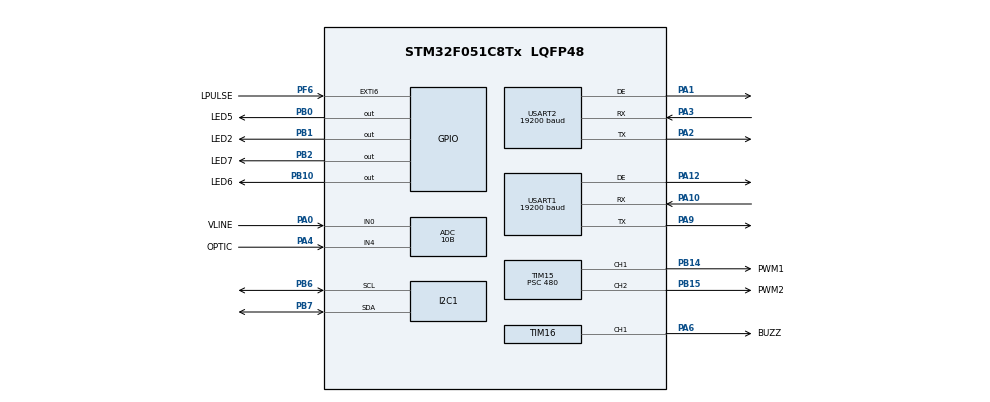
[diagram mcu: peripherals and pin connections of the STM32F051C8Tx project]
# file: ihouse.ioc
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ADC.Resolution=ADC_RESOLUTION_10B
Mcu.Family=STM32F0
Mcu.Name=STM32F051C8Tx
Mcu.Package=LQFP48
NVIC.EXTI4_15_IRQn=true\:0\:0\:false\:false\:true\:true
NVIC.TIM6_DAC_IRQn=true\:0\:0\:false\:false\:true\:true
NVIC.USART1_IRQn=true\:0\:0\:false\:false\:true\:true
NVIC.USART2_IRQn=true\:0\:0\:false\:false\:true\:true
PA0.GPIO_Label=VLINE
PA0.Mode=IN0
PA0.Signal=ADC_IN0
PA1.Mode=Hardware Flow Control (RS485)
PA1.Signal=USART2_DE
PA10.Mode=Asynchronous
PA10.Signal=USART1_RX
PA12.Mode=Hardware Flow Control (RS485)
PA12.Signal=USART1_DE
PA13.Mode=Serial_Wire
PA13.Signal=SYS_SWDIO
PA14.Mode=Serial_Wire
PA14.Signal=SYS_SWCLK
PA2.Mode=Asynchronous
PA2.Signal=USART2_TX
PA3.Mode=Asynchronous
PA3.Signal=USART2_RX
PA4.GPIO_Label=OPTIC
PA4.Mode=IN4
PA4.Signal=ADC_IN4
PA6.GPIO_Label=BUZZ
PA6.Signal=S_TIM16_CH1
PA9.Mode=Asynchronous
PA9.Signal=USART1_TX
PB0.GPIO_Label=LED5
PB0.Signal=GPIO_Output
PB1.GPIO_Label=LED2
PB1.Signal=GPIO_Output
PB10.GPIO_Label=LED6
PB10.Signal=GPIO_Output
PB14.GPIO_Label=PWM1
PB14.Signal=S_TIM15_CH1
PB15.GPIO_Label=PWM2
PB15.Signal=S_TIM15_CH2
PB2.GPIO_Label=LED7
PB2.Signal=GPIO_Output
PB6.Mode=I2C
PB6.Signal=I2C1_SCL
PB7.Mode=I2C
PB7.Signal=I2C1_SDA
PC14-OSC32_IN.Mode=LSE-External-Oscillator
PC14-OSC32_IN.Signal=RCC_OSC32_IN
PC15-OSC32_OUT.Mode=LSE-External-Oscillator
PC15-OSC32_OUT.Signal=RCC_OSC32_OUT
PF0-OSC_IN.Mode=HSE-External-Oscillator
PF0-OSC_IN.Signal=RCC_OSC_IN
PF1-OSC_OUT.Mode=HSE-External-Oscillator
PF1-OSC_OUT.Signal=RCC_OSC_OUT
PF6.GPIO_Label=LPULSE
PF6.GPIO_PuPd=GPIO_PULLUP
PF6.Signal=GPXTI6
ProjectManager.HeapSize=0x200
ProjectManager.StackSize=0x400
ProjectManager.TargetToolchain=Other Toolchains (GPDSC)
RCC.AHBFreq_Value=48000000
RCC.APB1Freq_Value=48000000
RCC.APB1TimFreq_Value=48000000
RCC.FLatency=FLASH_LATENCY_1
RCC.HCLKFreq_Value=48000000
RCC.HSI14CalibrationValue=16
RCC.PLLMUL=RCC_PLL_MUL6
RCC.PLLSourceVirtual=RCC_PLLSOURCE_HSE
RCC.SYSCLKFreq_VALUE=48000000
RCC.SYSCLKSource=RCC_SYSCLKSOURCE_PLLCLK
SH.S_TIM15_CH1.0=TIM15_CH1,PWM Generation1 CH1
SH.S_TIM15_CH2.0=TIM15_CH2,PWM Generation2 CH2
SH.S_TIM16_CH1.0=TIM16_CH1,PWM Generation1 CH1
TIM15.Channel-PWM\ Generation1\ CH1=TIM_CHANNEL_1
TIM15.Channel-PWM\ Generation2\ CH2=TIM_CHANNEL_2
TIM15.Period=100
TIM15.Prescaler=480
TIM15.Pulse-PWM\ Generation1\ CH1=50
TIM15.Pulse-PWM\ Generation2\ CH2=50
TIM16.Channel=TIM_CHANNEL_1
TIM16.Period=100
TIM16.Prescaler=480
TIM16.Pulse=50
TIM6.Period=1000
USART1.BaudRate=19200
USART1.VirtualMode-Asynchronous=VM_ASYNC
USART1.VirtualMode-Hardware\ Flow\ Control\ (RS485)=VM_ASYNC
USART2.BaudRate=19200
USART2.VirtualMode-Asynchronous=VM_ASYNC
USART2.VirtualMode-Hardware\ Flow\ Control\ (RS485)=VM_ASYNC
VP_ADC_TempSens_Input.Mode=IN-TempSens
VP_ADC_Vref_Input.Mode=IN-Vrefint
VP_TIM16_VS_ClockSourceINT.Mode=Enable_Timer
VP_TIM6_VS_ClockSourceINT.Mode=Enable_Timer
VP_TIM6_VS_OPM.Mode=OPM_bit
board=unicon

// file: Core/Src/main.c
/* USER CODE BEGIN Header */
/**
  ******************************************************************************
  * @file           : main.c
  * @brief          : Main program body
  ******************************************************************************
  ** This notice applies to any and all portions of this file
  * that are not between comment pairs USER CODE BEGIN and
  * USER CODE END. Other portions of this file, whether
  * inserted by the user or by software development tools
  * are owned by their respective copyright owners.
  *
  * COPYRIGHT(c) 2019 STMicroelectronics
  *
  * Redistribution and use in source and binary forms, with or without modification,
  * are permitted provided that the following conditions are met:
  *   1. Redistributions of source code must retain the above copyright notice,
  *      this list of conditions and the following disclaimer.
  *   2. Redistributions in binary form must reproduce the above copyright notice,
  *      this list of conditions and the following disclaimer in the documentation
  *      and/or other materials provided with the distribution.
  *   3. Neither the name of STMicroelectronics nor the names of its contributors
  *      may be used to endorse or promote products derived from this software
  *      without specific prior written permission.
  *
  * THIS SOFTWARE IS PROVIDED BY THE COPYRIGHT HOLDERS AND CONTRIBUTORS "AS IS"
  * AND ANY EXPRESS OR IMPLIED WARRANTIES, INCLUDING, BUT NOT LIMITED TO, THE
  * IMPLIED WARRANTIES OF MERCHANTABILITY AND FITNESS FOR A PARTICULAR PURPOSE ARE
  * DISCLAIMED. IN NO EVENT SHALL THE COPYRIGHT HOLDER OR CONTRIBUTORS BE LIABLE
  * FOR ANY DIRECT, INDIRECT, INCIDENTAL, SPECIAL, EXEMPLARY, OR CONSEQUENTIAL
  * DAMAGES (INCLUDING, BUT NOT LIMITED TO, PROCUREMENT OF SUBSTITUTE GOODS OR
  * SERVICES; LOSS OF USE, DATA, OR PROFITS; OR BUSINESS INTERRUPTION) HOWEVER
  * CAUSED AND ON ANY THEORY OF LIABILITY, WHETHER IN CONTRACT, STRICT LIABILITY,
  * OR TORT (INCLUDING NEGLIGENCE OR OTHERWISE) ARISING IN ANY WAY OUT OF THE USE
  * OF THIS SOFTWARE, EVEN IF ADVISED OF THE POSSIBILITY OF SUCH DAMAGE.
  *
  ******************************************************************************
  */
/* USER CODE END Header */

#include "main.h"

/* USER CODE BEGIN Includes */
#include "unicon.h"

#if defined(MODBUS_ENABLE)
    #include "mb.h"
    #include "user_mb_app.h"
#endif
/* USER CODE END Includes */

/* USER CODE BEGIN PV */
extern volatile uint32_t timestamp;

char str[10] = {'r', 'e', 's', 't', 0xff, 0xff, 0xff};
/* USER CODE END PV */

void SystemClock_Config(void);
static void MX_GPIO_Init(void);
static void MX_I2C1_Init(void);
static void MX_USART1_UART_Init(void);
static void MX_TIM6_Init(void);
static void MX_ADC_Init(void);
static void MX_USART2_UART_Init(void);
static void MX_TIM16_Init(void);
static void MX_TIM15_Init(void);

int main(void)
{
  /* USER CODE BEGIN 1 */
    static volatile uint32_t delay = 0;
  /* USER CODE END 1 */

  /* MCU Configuration--------------------------------------------------------*/

  /* Reset of all peripherals, Initializes the Flash interface and the Systick. */

  LL_APB1_GRP2_EnableClock(LL_APB1_GRP2_PERIPH_SYSCFG);
  LL_APB1_GRP1_EnableClock(LL_APB1_GRP1_PERIPH_PWR);

  /* System interrupt init*/

  /* Configure the system clock */
  SystemClock_Config();

  /* Initialize all configured peripherals */
  MX_GPIO_Init();
  MX_I2C1_Init();
  MX_USART1_UART_Init();
  MX_TIM6_Init();
  MX_ADC_Init();
  MX_USART2_UART_Init();
  MX_TIM16_Init();
  MX_TIM15_Init();
  /* USER CODE BEGIN 2 */

    SysTick_Config(SystemCoreClock/1000);

    LL_mDelay(10);

    UNI_Start();

    BEEP();
    LL_mDelay(10);
    BEEP();
    LL_mDelay(10);
    BEEP();

  /* USER CODE END 2 */

  /* Infinite loop */
  /* USER CODE BEGIN WHILE */

#if defined(MODBUS_ENABLE)
    eMBInit( MB_RTU, port_config[SECONDARY_PORT].MbAddr, SECONDARY_PORT, port_config[SECONDARY_PORT].Baudrate, port_config[SECONDARY_PORT].Parity );
    eMBSetSlaveID( 123, TRUE, ucSlaveIdBuf, (MB_FUNC_OTHER_REP_SLAVEID_BUF - 4) );
    eMBEnable();
#endif

  while (1)
  {

        if(delay <= timestamp) {

            delay = timestamp + 5000;

            LEDS_OFF();

            Nextion_CommandSend(cmd_rest, sizeof(cmd_rest));
        }

        UNI_Process();

//        if(port_register[NEXTION_PORT].PortTimer > 0) LED2_ON();
//        else LED2_OFF();
//
//        if(port_register[SECONDARY_PORT].PortTimer > 0) LED7_ON();
//        else LED7_OFF();

    /* USER CODE END WHILE */
#if defined(MODBUS_ENABLE)
    (void)eMBPoll();
#endif
  }
}

void SystemClock_Config(void)
{
  LL_FLASH_SetLatency(LL_FLASH_LATENCY_1);

  if(LL_FLASH_GetLatency() != LL_FLASH_LATENCY_1)
  {
  Error_Handler();
  }
  LL_RCC_HSE_Enable();

   /* Wait till HSE is ready */
  while(LL_RCC_HSE_IsReady() != 1)
  {

  }
  LL_RCC_HSI_Enable();

   /* Wait till HSI is ready */
  while(LL_RCC_HSI_IsReady() != 1)
  {

  }
  LL_RCC_HSI_SetCalibTrimming(16);
  LL_RCC_HSI14_Enable();

   /* Wait till HSI14 is ready */
  while(LL_RCC_HSI14_IsReady() != 1)
  {

  }
  LL_RCC_HSI14_SetCalibTrimming(16);
  LL_RCC_PLL_ConfigDomain_SYS(LL_RCC_PLLSOURCE_HSE_DIV_1, LL_RCC_PLL_MUL_6);
  LL_RCC_PLL_Enable();

   /* Wait till PLL is ready */
  while(LL_RCC_PLL_IsReady() != 1)
  {

  }
  LL_RCC_SetAHBPrescaler(LL_RCC_SYSCLK_DIV_1);
  LL_RCC_SetAPB1Prescaler(LL_RCC_APB1_DIV_1);
  LL_RCC_SetSysClkSource(LL_RCC_SYS_CLKSOURCE_PLL);

   /* Wait till System clock is ready */
  while(LL_RCC_GetSysClkSource() != LL_RCC_SYS_CLKSOURCE_STATUS_PLL)
  {

  }
  LL_Init1msTick(48000000);
  LL_SYSTICK_SetClkSource(LL_SYSTICK_CLKSOURCE_HCLK);
  LL_SetSystemCoreClock(48000000);
  LL_RCC_HSI14_EnableADCControl();
  LL_RCC_SetUSARTClockSource(LL_RCC_USART1_CLKSOURCE_PCLK1);
  LL_RCC_SetI2CClockSource(LL_RCC_I2C1_CLKSOURCE_HSI);
}

static void MX_ADC_Init(void)
{

  LL_ADC_InitTypeDef ADC_InitStruct = {0};
  LL_ADC_REG_InitTypeDef ADC_REG_InitStruct = {0};

  LL_GPIO_InitTypeDef GPIO_InitStruct = {0};

  /* Peripheral clock enable */
  LL_APB1_GRP2_EnableClock(LL_APB1_GRP2_PERIPH_ADC1);

  LL_AHB1_GRP1_EnableClock(LL_AHB1_GRP1_PERIPH_GPIOA);
  /**ADC GPIO Configuration
  PA0   ------> ADC_IN0
  PA4   ------> ADC_IN4
  */
  GPIO_InitStruct.Pin = VLINE_Pin;
  GPIO_InitStruct.Mode = LL_GPIO_MODE_ANALOG;
  GPIO_InitStruct.Pull = LL_GPIO_PULL_NO;
  LL_GPIO_Init(VLINE_GPIO_Port, &GPIO_InitStruct);

  GPIO_InitStruct.Pin = OPTIC_Pin;
  GPIO_InitStruct.Mode = LL_GPIO_MODE_ANALOG;
  GPIO_InitStruct.Pull = LL_GPIO_PULL_NO;
  LL_GPIO_Init(OPTIC_GPIO_Port, &GPIO_InitStruct);

  /**Configure Regular Channel
  */
  LL_ADC_REG_SetSequencerChAdd(ADC1, LL_ADC_CHANNEL_0);
  /**Configure Regular Channel
  */
  LL_ADC_REG_SetSequencerChAdd(ADC1, LL_ADC_CHANNEL_4);
  /**Configure Regular Channel
  */
  LL_ADC_REG_SetSequencerChAdd(ADC1, LL_ADC_CHANNEL_TEMPSENSOR);
  LL_ADC_SetCommonPathInternalCh(__LL_ADC_COMMON_INSTANCE(ADC1), LL_ADC_PATH_INTERNAL_TEMPSENSOR);
  /**Configure Regular Channel
  */
  LL_ADC_REG_SetSequencerChAdd(ADC1, LL_ADC_CHANNEL_VREFINT);
  LL_ADC_SetCommonPathInternalCh(__LL_ADC_COMMON_INSTANCE(ADC1), LL_ADC_PATH_INTERNAL_VREFINT);
  /**Configure the global features of the ADC (Clock, Resolution, Data Alignment and number of conversion)
  */
  ADC_InitStruct.Clock = LL_ADC_CLOCK_ASYNC;
  ADC_InitStruct.Resolution = LL_ADC_RESOLUTION_10B;
  ADC_InitStruct.DataAlignment = LL_ADC_DATA_ALIGN_RIGHT;
  ADC_InitStruct.LowPowerMode = LL_ADC_LP_MODE_NONE;
  LL_ADC_Init(ADC1, &ADC_InitStruct);
  ADC_REG_InitStruct.TriggerSource = LL_ADC_REG_TRIG_SOFTWARE;
  ADC_REG_InitStruct.SequencerDiscont = LL_ADC_REG_SEQ_DISCONT_DISABLE;
  ADC_REG_InitStruct.ContinuousMode = LL_ADC_REG_CONV_SINGLE;
  ADC_REG_InitStruct.DMATransfer = LL_ADC_REG_DMA_TRANSFER_LIMITED;
  ADC_REG_InitStruct.Overrun = LL_ADC_REG_OVR_DATA_PRESERVED;
  LL_ADC_REG_Init(ADC1, &ADC_REG_InitStruct);
  LL_ADC_REG_SetSequencerScanDirection(ADC1, LL_ADC_REG_SEQ_SCAN_DIR_FORWARD);
  LL_ADC_SetSamplingTimeCommonChannels(ADC1, LL_ADC_SAMPLINGTIME_1CYCLE_5);
  LL_ADC_DisableIT_EOC(ADC1);
  LL_ADC_DisableIT_EOS(ADC1);

}

static void MX_I2C1_Init(void)
{

  LL_I2C_InitTypeDef I2C_InitStruct = {0};

  LL_GPIO_InitTypeDef GPIO_InitStruct = {0};

  LL_AHB1_GRP1_EnableClock(LL_AHB1_GRP1_PERIPH_GPIOB);
  /**I2C1 GPIO Configuration
  PB6   ------> I2C1_SCL
  PB7   ------> I2C1_SDA
  */
  GPIO_InitStruct.Pin = LL_GPIO_PIN_6;
  GPIO_InitStruct.Mode = LL_GPIO_MODE_ALTERNATE;
  GPIO_InitStruct.Speed = LL_GPIO_SPEED_FREQ_HIGH;
  GPIO_InitStruct.OutputType = LL_GPIO_OUTPUT_OPENDRAIN;
  GPIO_InitStruct.Pull = LL_GPIO_PULL_UP;
  GPIO_InitStruct.Alternate = LL_GPIO_AF_1;
  LL_GPIO_Init(GPIOB, &GPIO_InitStruct);

  GPIO_InitStruct.Pin = LL_GPIO_PIN_7;
  GPIO_InitStruct.Mode = LL_GPIO_MODE_ALTERNATE;
  GPIO_InitStruct.Speed = LL_GPIO_SPEED_FREQ_HIGH;
  GPIO_InitStruct.OutputType = LL_GPIO_OUTPUT_OPENDRAIN;
  GPIO_InitStruct.Pull = LL_GPIO_PULL_UP;
  GPIO_InitStruct.Alternate = LL_GPIO_AF_1;
  LL_GPIO_Init(GPIOB, &GPIO_InitStruct);

  /* Peripheral clock enable */
  LL_APB1_GRP1_EnableClock(LL_APB1_GRP1_PERIPH_I2C1);

  /**I2C Initialization
  */
  LL_I2C_DisableOwnAddress2(I2C1);
  LL_I2C_DisableGeneralCall(I2C1);
  LL_I2C_EnableClockStretching(I2C1);
  I2C_InitStruct.PeripheralMode = LL_I2C_MODE_I2C;
  I2C_InitStruct.Timing = 0x2000090E;
  I2C_InitStruct.AnalogFilter = LL_I2C_ANALOGFILTER_ENABLE;
  I2C_InitStruct.DigitalFilter = 0;
  I2C_InitStruct.OwnAddress1 = 0;
  I2C_InitStruct.TypeAcknowledge = LL_I2C_ACK;
  I2C_InitStruct.OwnAddrSize = LL_I2C_OWNADDRESS1_7BIT;
  LL_I2C_Init(I2C1, &I2C_InitStruct);
  LL_I2C_EnableAutoEndMode(I2C1);
  LL_I2C_SetOwnAddress2(I2C1, 0, LL_I2C_OWNADDRESS2_NOMASK);

}

static void MX_TIM6_Init(void)
{

  LL_TIM_InitTypeDef TIM_InitStruct = {0};

  /* Peripheral clock enable */
  LL_APB1_GRP1_EnableClock(LL_APB1_GRP1_PERIPH_TIM6);

  /* TIM6 interrupt Init */
  NVIC_SetPriority(TIM6_DAC_IRQn, 0);
  NVIC_EnableIRQ(TIM6_DAC_IRQn);

  TIM_InitStruct.Prescaler = 0;
  TIM_InitStruct.CounterMode = LL_TIM_COUNTERMODE_UP;
  TIM_InitStruct.Autoreload = 1000;
  LL_TIM_Init(TIM6, &TIM_InitStruct);
  LL_TIM_DisableARRPreload(TIM6);
  LL_TIM_SetOnePulseMode(TIM6, LL_TIM_ONEPULSEMODE_SINGLE);
  LL_TIM_SetTriggerOutput(TIM6, LL_TIM_TRGO_RESET);
  LL_TIM_DisableMasterSlaveMode(TIM6);

}

static void MX_TIM15_Init(void)
{

  LL_TIM_InitTypeDef TIM_InitStruct = {0};
  LL_TIM_OC_InitTypeDef TIM_OC_InitStruct = {0};
  LL_TIM_BDTR_InitTypeDef TIM_BDTRInitStruct = {0};

  LL_GPIO_InitTypeDef GPIO_InitStruct = {0};

  /* Peripheral clock enable */
  LL_APB1_GRP2_EnableClock(LL_APB1_GRP2_PERIPH_TIM15);

  TIM_InitStruct.Prescaler = 480;
  TIM_InitStruct.CounterMode = LL_TIM_COUNTERMODE_UP;
  TIM_InitStruct.Autoreload = 100;
  TIM_InitStruct.ClockDivision = LL_TIM_CLOCKDIVISION_DIV1;
  TIM_InitStruct.RepetitionCounter = 0;
  LL_TIM_Init(TIM15, &TIM_InitStruct);
  LL_TIM_DisableARRPreload(TIM15);
  LL_TIM_OC_EnablePreload(TIM15, LL_TIM_CHANNEL_CH1);
  TIM_OC_InitStruct.OCMode = LL_TIM_OCMODE_PWM1;
  TIM_OC_InitStruct.OCState = LL_TIM_OCSTATE_DISABLE;
  TIM_OC_InitStruct.OCNState = LL_TIM_OCSTATE_DISABLE;
  TIM_OC_InitStruct.CompareValue = 50;
  TIM_OC_InitStruct.OCPolarity = LL_TIM_OCPOLARITY_HIGH;
  TIM_OC_InitStruct.OCNPolarity = LL_TIM_OCPOLARITY_HIGH;
  TIM_OC_InitStruct.OCIdleState = LL_TIM_OCIDLESTATE_LOW;
  TIM_OC_InitStruct.OCNIdleState = LL_TIM_OCIDLESTATE_LOW;
  LL_TIM_OC_Init(TIM15, LL_TIM_CHANNEL_CH1, &TIM_OC_InitStruct);
  LL_TIM_OC_DisableFast(TIM15, LL_TIM_CHANNEL_CH1);
  LL_TIM_OC_EnablePreload(TIM15, LL_TIM_CHANNEL_CH2);
  TIM_OC_InitStruct.OCState = LL_TIM_OCSTATE_DISABLE;
  TIM_OC_InitStruct.OCNState = LL_TIM_OCSTATE_DISABLE;
  LL_TIM_OC_Init(TIM15, LL_TIM_CHANNEL_CH2, &TIM_OC_InitStruct);
  LL_TIM_OC_DisableFast(TIM15, LL_TIM_CHANNEL_CH2);
  LL_TIM_SetTriggerOutput(TIM15, LL_TIM_TRGO_RESET);
  LL_TIM_DisableMasterSlaveMode(TIM15);
  TIM_BDTRInitStruct.OSSRState = LL_TIM_OSSR_DISABLE;
  TIM_BDTRInitStruct.OSSIState = LL_TIM_OSSI_DISABLE;
  TIM_BDTRInitStruct.LockLevel = LL_TIM_LOCKLEVEL_OFF;
  TIM_BDTRInitStruct.DeadTime = 0;
  TIM_BDTRInitStruct.BreakState = LL_TIM_BREAK_DISABLE;
  TIM_BDTRInitStruct.BreakPolarity = LL_TIM_BREAK_POLARITY_HIGH;
  TIM_BDTRInitStruct.AutomaticOutput = LL_TIM_AUTOMATICOUTPUT_DISABLE;
  LL_TIM_BDTR_Init(TIM15, &TIM_BDTRInitStruct);
  LL_AHB1_GRP1_EnableClock(LL_AHB1_GRP1_PERIPH_GPIOB);
  /**TIM15 GPIO Configuration
  PB14   ------> TIM15_CH1
  PB15   ------> TIM15_CH2
  */
  GPIO_InitStruct.Pin = PWM1_Pin;
  GPIO_InitStruct.Mode = LL_GPIO_MODE_ALTERNATE;
  GPIO_InitStruct.Speed = LL_GPIO_SPEED_FREQ_LOW;
  GPIO_InitStruct.OutputType = LL_GPIO_OUTPUT_PUSHPULL;
  GPIO_InitStruct.Pull = LL_GPIO_PULL_NO;
  GPIO_InitStruct.Alternate = LL_GPIO_AF_1;
  LL_GPIO_Init(PWM1_GPIO_Port, &GPIO_InitStruct);

  GPIO_InitStruct.Pin = PWM2_Pin;
  GPIO_InitStruct.Mode = LL_GPIO_MODE_ALTERNATE;
  GPIO_InitStruct.Speed = LL_GPIO_SPEED_FREQ_LOW;
  GPIO_InitStruct.OutputType = LL_GPIO_OUTPUT_PUSHPULL;
  GPIO_InitStruct.Pull = LL_GPIO_PULL_NO;
  GPIO_InitStruct.Alternate = LL_GPIO_AF_1;
  LL_GPIO_Init(PWM2_GPIO_Port, &GPIO_InitStruct);

}

static void MX_TIM16_Init(void)
{

  LL_TIM_InitTypeDef TIM_InitStruct = {0};
  LL_TIM_OC_InitTypeDef TIM_OC_InitStruct = {0};
  LL_TIM_BDTR_InitTypeDef TIM_BDTRInitStruct = {0};

  LL_GPIO_InitTypeDef GPIO_InitStruct = {0};

  /* Peripheral clock enable */
  LL_APB1_GRP2_EnableClock(LL_APB1_GRP2_PERIPH_TIM16);

  TIM_InitStruct.Prescaler = 480;
  TIM_InitStruct.CounterMode = LL_TIM_COUNTERMODE_UP;
  TIM_InitStruct.Autoreload = 100;
  TIM_InitStruct.ClockDivision = LL_TIM_CLOCKDIVISION_DIV1;
  TIM_InitStruct.RepetitionCounter = 0;
  LL_TIM_Init(TIM16, &TIM_InitStruct);
  LL_TIM_DisableARRPreload(TIM16);
  LL_TIM_OC_EnablePreload(TIM16, LL_TIM_CHANNEL_CH1);
  TIM_OC_InitStruct.OCMode = LL_TIM_OCMODE_PWM1;
  TIM_OC_InitStruct.OCState = LL_TIM_OCSTATE_DISABLE;
  TIM_OC_InitStruct.OCNState = LL_TIM_OCSTATE_DISABLE;
  TIM_OC_InitStruct.CompareValue = 50;
  TIM_OC_InitStruct.OCPolarity = LL_TIM_OCPOLARITY_HIGH;
  TIM_OC_InitStruct.OCNPolarity = LL_TIM_OCPOLARITY_HIGH;
  TIM_OC_InitStruct.OCIdleState = LL_TIM_OCIDLESTATE_LOW;
  TIM_OC_InitStruct.OCNIdleState = LL_TIM_OCIDLESTATE_LOW;
  LL_TIM_OC_Init(TIM16, LL_TIM_CHANNEL_CH1, &TIM_OC_InitStruct);
  LL_TIM_OC_DisableFast(TIM16, LL_TIM_CHANNEL_CH1);
  TIM_BDTRInitStruct.OSSRState = LL_TIM_OSSR_DISABLE;
  TIM_BDTRInitStruct.OSSIState = LL_TIM_OSSI_DISABLE;
  TIM_BDTRInitStruct.LockLevel = LL_TIM_LOCKLEVEL_OFF;
  TIM_BDTRInitStruct.DeadTime = 0;
  TIM_BDTRInitStruct.BreakState = LL_TIM_BREAK_DISABLE;
  TIM_BDTRInitStruct.BreakPolarity = LL_TIM_BREAK_POLARITY_HIGH;
  TIM_BDTRInitStruct.AutomaticOutput = LL_TIM_AUTOMATICOUTPUT_DISABLE;
  LL_TIM_BDTR_Init(TIM16, &TIM_BDTRInitStruct);
  LL_AHB1_GRP1_EnableClock(LL_AHB1_GRP1_PERIPH_GPIOA);
  /**TIM16 GPIO Configuration
  PA6   ------> TIM16_CH1
  */
  GPIO_InitStruct.Pin = BUZZ_Pin;
  GPIO_InitStruct.Mode = LL_GPIO_MODE_ALTERNATE;
  GPIO_InitStruct.Speed = LL_GPIO_SPEED_FREQ_LOW;
  GPIO_InitStruct.OutputType = LL_GPIO_OUTPUT_PUSHPULL;
  GPIO_InitStruct.Pull = LL_GPIO_PULL_NO;
  GPIO_InitStruct.Alternate = LL_GPIO_AF_5;
  LL_GPIO_Init(BUZZ_GPIO_Port, &GPIO_InitStruct);

}

static void MX_USART1_UART_Init(void)
{

  LL_USART_InitTypeDef USART_InitStruct = {0};

  LL_GPIO_InitTypeDef GPIO_InitStruct = {0};

  /* Peripheral clock enable */
  LL_APB1_GRP2_EnableClock(LL_APB1_GRP2_PERIPH_USART1);

  LL_AHB1_GRP1_EnableClock(LL_AHB1_GRP1_PERIPH_GPIOA);
  /**USART1 GPIO Configuration
  PA9   ------> USART1_TX
  PA10   ------> USART1_RX
  PA12   ------> USART1_DE
  */
  GPIO_InitStruct.Pin = LL_GPIO_PIN_9;
  GPIO_InitStruct.Mode = LL_GPIO_MODE_ALTERNATE;
  GPIO_InitStruct.Speed = LL_GPIO_SPEED_FREQ_HIGH;
  GPIO_InitStruct.OutputType = LL_GPIO_OUTPUT_PUSHPULL;
  GPIO_InitStruct.Pull = LL_GPIO_PULL_NO;
  GPIO_InitStruct.Alternate = LL_GPIO_AF_1;
  LL_GPIO_Init(GPIOA, &GPIO_InitStruct);

  GPIO_InitStruct.Pin = LL_GPIO_PIN_10;
  GPIO_InitStruct.Mode = LL_GPIO_MODE_ALTERNATE;
  GPIO_InitStruct.Speed = LL_GPIO_SPEED_FREQ_HIGH;
  GPIO_InitStruct.OutputType = LL_GPIO_OUTPUT_PUSHPULL;
  GPIO_InitStruct.Pull = LL_GPIO_PULL_UP;
  GPIO_InitStruct.Alternate = LL_GPIO_AF_1;
  LL_GPIO_Init(GPIOA, &GPIO_InitStruct);

  GPIO_InitStruct.Pin = LL_GPIO_PIN_12;
  GPIO_InitStruct.Mode = LL_GPIO_MODE_ALTERNATE;
  GPIO_InitStruct.Speed = LL_GPIO_SPEED_FREQ_HIGH;
  GPIO_InitStruct.OutputType = LL_GPIO_OUTPUT_PUSHPULL;
  GPIO_InitStruct.Pull = LL_GPIO_PULL_NO;
  GPIO_InitStruct.Alternate = LL_GPIO_AF_1;
  LL_GPIO_Init(GPIOA, &GPIO_InitStruct);

  /* USART1 interrupt Init */
  NVIC_SetPriority(USART1_IRQn, 0);
  NVIC_EnableIRQ(USART1_IRQn);

  USART_InitStruct.BaudRate = 19200;
  USART_InitStruct.DataWidth = LL_USART_DATAWIDTH_8B;
  USART_InitStruct.StopBits = LL_USART_STOPBITS_1;
  USART_InitStruct.Parity = LL_USART_PARITY_NONE;
  USART_InitStruct.TransferDirection = LL_USART_DIRECTION_TX_RX;
  USART_InitStruct.HardwareFlowControl = LL_USART_HWCONTROL_NONE;
  USART_InitStruct.OverSampling = LL_USART_OVERSAMPLING_16;
  LL_USART_Init(USART1, &USART_InitStruct);
  LL_USART_EnableDEMode(USART1);
  LL_USART_SetDESignalPolarity(USART1, LL_USART_DE_POLARITY_HIGH);
  LL_USART_SetDEAssertionTime(USART1, 0);
  LL_USART_SetDEDeassertionTime(USART1, 0);
  LL_USART_DisableOverrunDetect(USART1);
  LL_USART_ConfigAsyncMode(USART1);
  LL_USART_Enable(USART1);

}

static void MX_USART2_UART_Init(void)
{

  LL_USART_InitTypeDef USART_InitStruct = {0};

  LL_GPIO_InitTypeDef GPIO_InitStruct = {0};

  /* Peripheral clock enable */
  LL_APB1_GRP1_EnableClock(LL_APB1_GRP1_PERIPH_USART2);

  LL_AHB1_GRP1_EnableClock(LL_AHB1_GRP1_PERIPH_GPIOA);
  /**USART2 GPIO Configuration
  PA1   ------> USART2_DE
  PA2   ------> USART2_TX
  PA3   ------> USART2_RX
  */
  GPIO_InitStruct.Pin = LL_GPIO_PIN_1;
  GPIO_InitStruct.Mode = LL_GPIO_MODE_ALTERNATE;
  GPIO_InitStruct.Speed = LL_GPIO_SPEED_FREQ_HIGH;
  GPIO_InitStruct.OutputType = LL_GPIO_OUTPUT_PUSHPULL;
  GPIO_InitStruct.Pull = LL_GPIO_PULL_NO;
  GPIO_InitStruct.Alternate = LL_GPIO_AF_1;
  LL_GPIO_Init(GPIOA, &GPIO_InitStruct);

  GPIO_InitStruct.Pin = LL_GPIO_PIN_2;
  GPIO_InitStruct.Mode = LL_GPIO_MODE_ALTERNATE;
  GPIO_InitStruct.Speed = LL_GPIO_SPEED_FREQ_HIGH;
  GPIO_InitStruct.OutputType = LL_GPIO_OUTPUT_PUSHPULL;
  GPIO_InitStruct.Pull = LL_GPIO_PULL_NO;
  GPIO_InitStruct.Alternate = LL_GPIO_AF_1;
  LL_GPIO_Init(GPIOA, &GPIO_InitStruct);

  GPIO_InitStruct.Pin = LL_GPIO_PIN_3;
  GPIO_InitStruct.Mode = LL_GPIO_MODE_ALTERNATE;
  GPIO_InitStruct.Speed = LL_GPIO_SPEED_FREQ_HIGH;
  GPIO_InitStruct.OutputType = LL_GPIO_OUTPUT_PUSHPULL;
  GPIO_InitStruct.Pull = LL_GPIO_PULL_UP;
  GPIO_InitStruct.Alternate = LL_GPIO_AF_1;
  LL_GPIO_Init(GPIOA, &GPIO_InitStruct);

  /* USART2 interrupt Init */
  NVIC_SetPriority(USART2_IRQn, 0);
  NVIC_EnableIRQ(USART2_IRQn);

  USART_InitStruct.BaudRate = 19200;
  USART_InitStruct.DataWidth = LL_USART_DATAWIDTH_8B;
  USART_InitStruct.StopBits = LL_USART_STOPBITS_1;
  USART_InitStruct.Parity = LL_USART_PARITY_NONE;
  USART_InitStruct.TransferDirection = LL_USART_DIRECTION_TX_RX;
  USART_InitStruct.HardwareFlowControl = LL_USART_HWCONTROL_NONE;
  USART_InitStruct.OverSampling = LL_USART_OVERSAMPLING_16;
  LL_USART_Init(USART2, &USART_InitStruct);
  LL_USART_EnableDEMode(USART2);
  LL_USART_SetDESignalPolarity(USART2, LL_USART_DE_POLARITY_HIGH);
  LL_USART_SetDEAssertionTime(USART2, 0);
  LL_USART_SetDEDeassertionTime(USART2, 0);
  LL_USART_DisableOverrunDetect(USART2);
  LL_USART_ConfigAsyncMode(USART2);
  LL_USART_Enable(USART2);

}

static void MX_GPIO_Init(void)
{
  LL_GPIO_InitTypeDef GPIO_InitStruct = {0};
  LL_EXTI_InitTypeDef EXTI_InitStruct = {0};

  /* GPIO Ports Clock Enable */
  LL_AHB1_GRP1_EnableClock(LL_AHB1_GRP1_PERIPH_GPIOC);
  LL_AHB1_GRP1_EnableClock(LL_AHB1_GRP1_PERIPH_GPIOF);
  LL_AHB1_GRP1_EnableClock(LL_AHB1_GRP1_PERIPH_GPIOA);
  LL_AHB1_GRP1_EnableClock(LL_AHB1_GRP1_PERIPH_GPIOB);

  /**/
  LL_GPIO_ResetOutputPin(LED5_GPIO_Port, LED5_Pin);

  /**/
  LL_GPIO_ResetOutputPin(LED2_GPIO_Port, LED2_Pin);

  /**/
  LL_GPIO_ResetOutputPin(LED7_GPIO_Port, LED7_Pin);

  /**/
  LL_GPIO_ResetOutputPin(LED6_GPIO_Port, LED6_Pin);

  /**/
  GPIO_InitStruct.Pin = LED5_Pin;
  GPIO_InitStruct.Mode = LL_GPIO_MODE_OUTPUT;
  GPIO_InitStruct.Speed = LL_GPIO_SPEED_FREQ_LOW;
  GPIO_InitStruct.OutputType = LL_GPIO_OUTPUT_PUSHPULL;
  GPIO_InitStruct.Pull = LL_GPIO_PULL_NO;
  LL_GPIO_Init(LED5_GPIO_Port, &GPIO_InitStruct);

  /**/
  GPIO_InitStruct.Pin = LED2_Pin;
  GPIO_InitStruct.Mode = LL_GPIO_MODE_OUTPUT;
  GPIO_InitStruct.Speed = LL_GPIO_SPEED_FREQ_LOW;
  GPIO_InitStruct.OutputType = LL_GPIO_OUTPUT_PUSHPULL;
  GPIO_InitStruct.Pull = LL_GPIO_PULL_NO;
  LL_GPIO_Init(LED2_GPIO_Port, &GPIO_InitStruct);

  /**/
  GPIO_InitStruct.Pin = LED7_Pin;
  GPIO_InitStruct.Mode = LL_GPIO_MODE_OUTPUT;
  GPIO_InitStruct.Speed = LL_GPIO_SPEED_FREQ_LOW;
  GPIO_InitStruct.OutputType = LL_GPIO_OUTPUT_PUSHPULL;
  GPIO_InitStruct.Pull = LL_GPIO_PULL_NO;
  LL_GPIO_Init(LED7_GPIO_Port, &GPIO_InitStruct);

  /**/
  GPIO_InitStruct.Pin = LED6_Pin;
  GPIO_InitStruct.Mode = LL_GPIO_MODE_OUTPUT;
  GPIO_InitStruct.Speed = LL_GPIO_SPEED_FREQ_LOW;
  GPIO_InitStruct.OutputType = LL_GPIO_OUTPUT_PUSHPULL;
  GPIO_InitStruct.Pull = LL_GPIO_PULL_NO;
  LL_GPIO_Init(LED6_GPIO_Port, &GPIO_InitStruct);

  /**/
  LL_SYSCFG_SetEXTISource(LL_SYSCFG_EXTI_PORTF, LL_SYSCFG_EXTI_LINE6);

  /**/
  LL_GPIO_SetPinPull(LPULSE_GPIO_Port, LPULSE_Pin, LL_GPIO_PULL_UP);

  /**/
  LL_GPIO_SetPinMode(LPULSE_GPIO_Port, LPULSE_Pin, LL_GPIO_MODE_INPUT);

  /**/
  EXTI_InitStruct.Line_0_31 = LL_EXTI_LINE_6;
  EXTI_InitStruct.LineCommand = ENABLE;
  EXTI_InitStruct.Mode = LL_EXTI_MODE_IT;
  EXTI_InitStruct.Trigger = LL_EXTI_TRIGGER_RISING;
  LL_EXTI_Init(&EXTI_InitStruct);

  /* EXTI interrupt init*/
  NVIC_SetPriority(EXTI4_15_IRQn, 0);
  NVIC_EnableIRQ(EXTI4_15_IRQn);

}

void Error_Handler(void)
{
}

/************************ (C) COPYRIGHT STMicroelectronics *****END OF FILE****/
